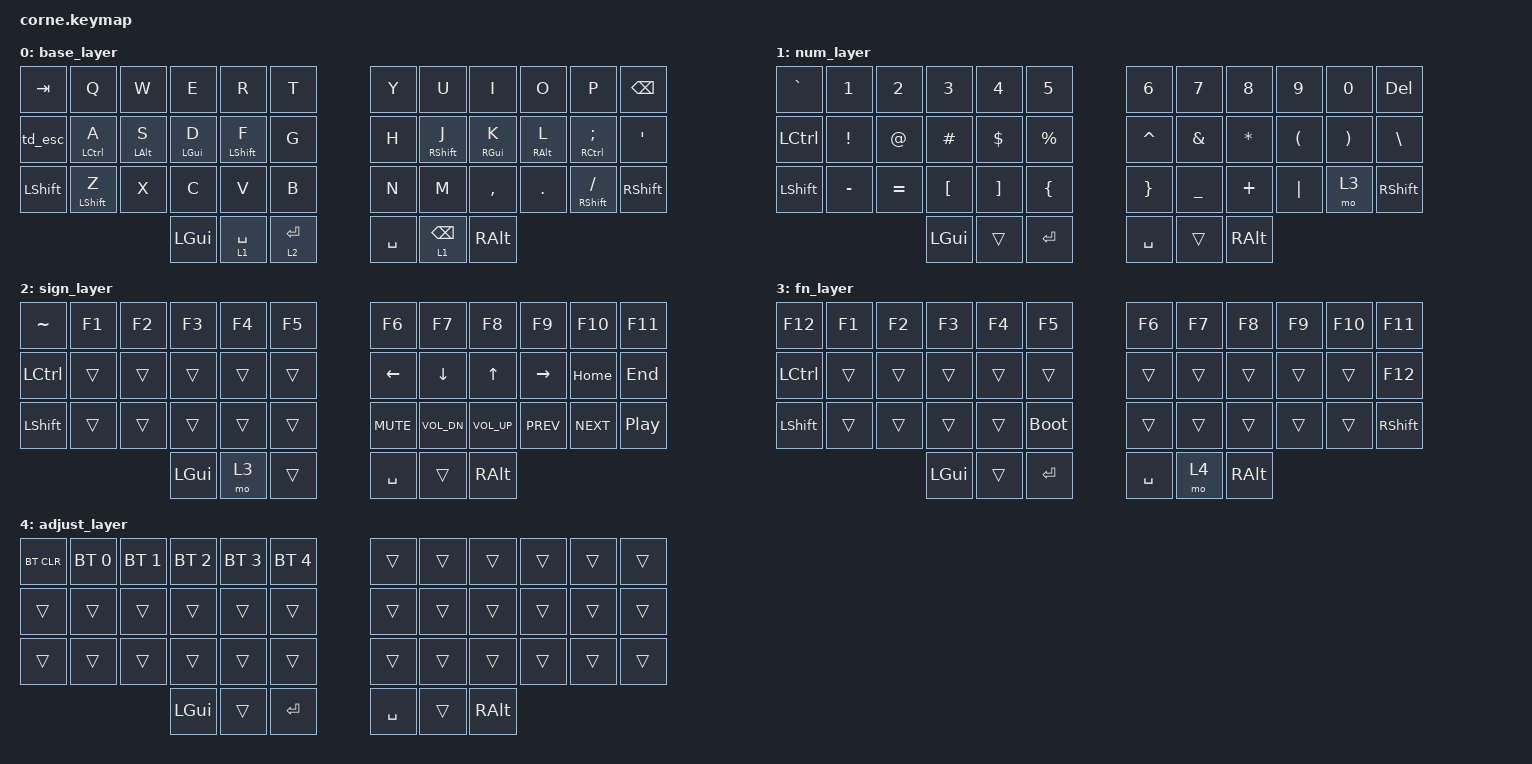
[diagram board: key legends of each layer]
/*
 * Copyright (c) 2020 The ZMK Contributors
 *
 * SPDX-License-Identifier: MIT
 */

#include <behaviors.dtsi>
#include <dt-bindings/zmk/keys.h>
#include <dt-bindings/zmk/bt.h>

/ {
    behaviors {
        // Homerow mods for base layer
        hm: homerow_mods {
            compatible = "zmk,behavior-hold-tap";
            #binding-cells = <2>;
            tapping-term-ms = <200>;
            quick-tap-ms = <0>;
            flavor = "tap-preferred";
            bindings = <&kp>, <&kp>;
        };
        
        // Mod-tap for Z key (Left Shift when held)
        mt_z: mod_tap_z {
            compatible = "zmk,behavior-hold-tap";
            #binding-cells = <2>;
            tapping-term-ms = <200>;
            quick-tap-ms = <0>;
            flavor = "tap-preferred";
            bindings = <&kp>, <&kp>;
        };
        
        // Mod-tap for / key (Right Shift when held)
        mt_slash: mod_tap_slash {
            compatible = "zmk,behavior-hold-tap";
            #binding-cells = <2>;
            tapping-term-ms = <200>;
            quick-tap-ms = <0>;
            flavor = "tap-preferred";
            bindings = <&kp>, <&kp>;
        };
        
        // Layer-tap for thumb keys
        lt_num: layer_tap_num {
            compatible = "zmk,behavior-hold-tap";
            #binding-cells = <2>;
            tapping-term-ms = <200>;
            quick-tap-ms = <0>;
            flavor = "tap-preferred";
            bindings = <&mo>, <&kp>;
        };
        
        lt_sign: layer_tap_sign {
            compatible = "zmk,behavior-hold-tap";
            #binding-cells = <2>;
            tapping-term-ms = <200>;
            quick-tap-ms = <0>;
            flavor = "tap-preferred";
            bindings = <&mo>, <&kp>;
        };
        
        // Tap dance for ESC/CAPS
        td_esc: tap_dance_esc {
            compatible = "zmk,behavior-tap-dance";
            #binding-cells = <0>;
            tapping-term-ms = <200>;
            bindings = <&kp ESC>, <&kp CAPS>;
        };
    };

    keymap {
        compatible = "zmk,keymap";

        // BASE Layer (0) - QWERTY with mod-taps
        base_layer {
// -----------------------------------------------------------------------------------------
// |  TAB |  Q  |  W  |  E  |  R  |  T  |   |  Y  |  U   |  I  |  O  |  P  | BSPC |
// | ESC  | A/CT| S/AL| D/GUI|F/SHF|  G  |   |  H  |J/SHF |K/GUI |L/ALT |;/CT |  '   |
// | SHFT | Z/SF|  X  |  C  |  V  |  B  |   |  N  |  M   |  ,  |  .  |//SF | SHFT |
//                    | GUI |NUM/SPC|SIGN/ENT| | SPC |NUM/BSP| ALT |
            bindings = <
   &kp TAB   &kp Q &kp W &kp E &kp R &kp T   &kp Y &kp U  &kp I     &kp O   &kp P    &kp BSPC
   &td_esc   &hm LCTRL A &hm LALT S &hm LGUI D &hm LSHFT F &kp G   &kp H &hm RSHFT J &hm RGUI K &hm RALT L &hm RCTRL SEMI &kp SQT
   &kp LSHFT &mt_z LSHFT Z &kp X &kp C &kp V &kp B   &kp N &kp M  &kp COMMA &kp DOT &mt_slash RSHFT FSLH &kp RSHFT
                          &kp LGUI &lt_num 1 SPACE &lt_sign 2 RET   &kp SPACE &lt_num 1 BSPC &kp RALT
            >;
        };

        // NUM Layer (1) - Numbers and symbols
        num_layer {
// -----------------------------------------------------------------------------------------
// |  `   |  1  |  2  |  3  |  4  |  5  |   |  6  |  7  |  8  |  9  |  0  | DEL  |
// | CTRL |  !  |  @  |  #  |  $  |  %  |   |  ^  |  &  |  *  |  (  |  )  |  \   |
// | SHFT |  -  |  =  |  [  |  ]  |  {  |   |  }  |  _  |  +  |  |  | F/FN| SHFT |
//                    | GUI |     | ENT |   | SPC |     | ALT |
            bindings = <
   &kp GRAVE &kp N1   &kp N2    &kp N3   &kp N4   &kp N5     &kp N6   &kp N7    &kp N8    &kp N9   &kp N0   &kp DEL
   &kp LCTRL &kp EXCL &kp AT    &kp HASH &kp DLLR &kp PRCNT  &kp CARET &kp AMPS &kp ASTRK &kp LPAR &kp RPAR &kp BSLH
   &kp LSHFT &kp MINUS &kp EQUAL &kp LBKT &kp RBKT &kp LBRC  &kp RBRC &kp UNDER &kp PLUS  &kp PIPE &mo 3    &kp RSHFT
                                &kp LGUI &trans   &kp RET    &kp SPACE &trans   &kp RALT
            >;
        };

        // SIGN Layer (2) - Navigation, symbols, and media
        sign_layer {
// -----------------------------------------------------------------------------------------
// |  ~   | F1  | F2  | F3  | F4  | F5  |   | F6  | F7  | F8  | F9  | F10 | F11  |
// | CTRL |     |     |     |     |     |   | LFT | DWN |  UP | RGT | HOME| END  |
// | SHFT |     |     |     |     |     |   | MUTE| VOLD| VOLU| PREV| NEXT| PLAY |
//                    | GUI | FN  |     |   | SPC |     | ALT |
            bindings = <
   &kp TILDE &kp F1 &kp F2 &kp F3 &kp F4 &kp F5   &kp F6 &kp F7 &kp F8 &kp F9 &kp F10 &kp F11
   &kp LCTRL &trans &trans &trans &trans &trans   &kp LEFT &kp DOWN &kp UP &kp RIGHT &kp HOME &kp END
   &kp LSHFT &trans &trans &trans &trans &trans   &kp C_MUTE &kp C_VOL_DN &kp C_VOL_UP &kp C_PREV &kp C_NEXT &kp C_PP
                           &kp LGUI &mo 3 &trans   &kp SPACE &trans &kp RALT
            >;
        };

        // FN Layer (3) - Function keys and system controls
        fn_layer {
// -----------------------------------------------------------------------------------------
// | F12  | F1  | F2  | F3  | F4  | F5  |   | F6  | F7  | F8  | F9  | F10 | F11  |
// | CTRL |     |     |     |     |     |   |     |     |     |     |     | F12  |
// | SHFT |     |     |     |     |BOOTL|   |     |     |     |     |     | SHFT |
//                    | GUI |     | ENT |   | SPC | ADJ | ALT |
            bindings = <
   &kp F12   &kp F1 &kp F2 &kp F3 &kp F4 &kp F5      &kp F6 &kp F7 &kp F8 &kp F9 &kp F10 &kp F11
   &kp LCTRL &trans &trans &trans &trans &trans      &trans &trans &trans &trans &trans  &kp F12
   &kp LSHFT &trans &trans &trans &trans &bootloader &trans &trans &trans &trans &trans  &kp RSHFT
                           &kp LGUI &trans &kp RET    &kp SPACE &mo 4 &kp RALT
            >;
        };

        // Bluetooth/Adjust Layer (4) - Preserved from original
        adjust_layer {
// -----------------------------------------------------------------------------------------
// | BTCLR| BT1 | BT2 | BT3 | BT4 | BT5 |   |     |     |     |     |     |      |
// |      |     |     |     |     |     |   |     |     |     |     |     |      |
// |      |     |     |     |     |     |   |     |     |     |     |     |      |
//                    | GUI |     | ENT |   | SPC |     | ALT |
            bindings = <
   &bt BT_CLR &bt BT_SEL 0 &bt BT_SEL 1 &bt BT_SEL 2 &bt BT_SEL 3 &bt BT_SEL 4   &trans &trans &trans &trans &trans &trans
   &trans     &trans       &trans       &trans       &trans       &trans         &trans &trans &trans &trans &trans &trans
   &trans     &trans       &trans       &trans       &trans       &trans         &trans &trans &trans &trans &trans &trans
                                        &kp LGUI     &trans       &kp RET        &kp SPACE &trans &kp RALT
            >;
        };

        extra1 {
            status = "reserved";
        };

        extra2 {
            status = "reserved";
        };
    };
};
